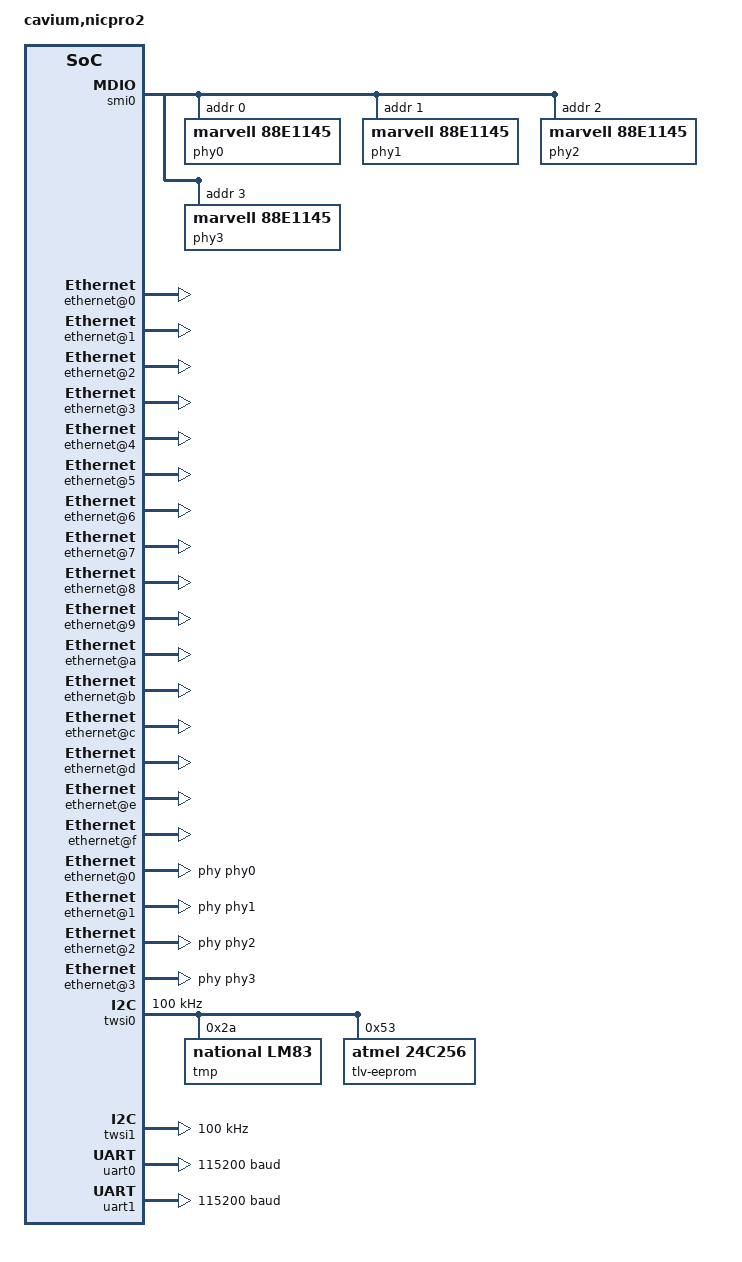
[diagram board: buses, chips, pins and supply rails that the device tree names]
/dts-v1/;
/*
 * Cavium NICPro2
 */
/ {
	model = "cavium,nicpro2";
	compatible = "cavium,nicpro2";
	#address-cells = <2>;
	#size-cells = <2>;
	interrupt-parent = <&ciu>;

	soc@0 {
		compatible = "simple-bus";
		#address-cells = <2>;
		#size-cells = <2>;
		ranges; /* Direct mapping */

		ciu: interrupt-controller@1070000000000 {
			compatible = "cavium,octeon-3860-ciu";
			interrupt-controller;
			/* Interrupts are specified by two parts:
			 * 1) Controller register (0 or 1)
			 * 2) Bit within the register (0..63)
			 */
			#interrupt-cells = <2>;
			reg = <0x10700 0x00000000 0x0 0x7000>;
		};

		gpio: gpio-controller@1070000000800 {
			#gpio-cells = <2>;
			compatible = "cavium,octeon-3860-gpio";
			reg = <0x10700 0x00000800 0x0 0x100>;
			gpio-controller;
			/* Interrupts are specified by two parts:
			 * 1) GPIO pin number (0..15)
			 * 2) Triggering (1 - edge rising
			 *		  2 - edge falling
			 *		  4 - level active high
			 *		  8 - level active low)
			 */
			interrupt-controller;
			#interrupt-cells = <2>;
			/* The GPIO pins connect to 16 consecutive CUI bits */
			interrupts = <0 16>; /* <0 17> <0 18> <0 19>
				     <0 20> <0 21> <0 22> <0 23>
				     <0 24> <0 25> <0 26> <0 27>
				     <0 28> <0 29> <0 30> <0 31>; */
		};

		smi0: mdio@1180000001800 {
			compatible = "cavium,octeon-3860-mdio";
			#address-cells = <1>;
			#size-cells = <0>;
			reg = <0x11800 0x00001800 0x0 0x40>;

			phy0: ethernet-phy@0 {
				reg = <0>;
				compatible = "marvell,88e1145";
			};
			phy1: ethernet-phy@1 {
				reg = <1>;
				compatible = "marvell,88e1145";
			};
			phy2: ethernet-phy@2 {
				reg = <2>;
				compatible = "marvell,88e1145";
			};
			phy3: ethernet-phy@3 {
				reg = <3>;
				compatible = "marvell,88e1145";
			};
		};

		pip: pip@11800a0000000 {
			compatible = "cavium,octeon-3860-pip";
			#address-cells = <1>;
			#size-cells = <0>;
			reg = <0x11800 0xa0000000 0x0 0x2000>;

			interface@0 {
				cavium,qlm-trim = "0,spi";
				compatible = "cavium,octeon-3860-pip-interface";
				#address-cells = <1>;
				#size-cells = <0>;
				reg = <0>; /* interface */

				ethernet@0 {
					compatible = "cavium,octeon-3860-pip-port";
					reg = <0x0>; /* Port */
					local-mac-address = [ 00 00 00 00 00 00 ];
				};
				ethernet@1 {
					compatible = "cavium,octeon-3860-pip-port";
					reg = <0x1>; /* Port */
					local-mac-address = [ 00 00 00 00 00 00 ];
				};
				ethernet@2 {
					compatible = "cavium,octeon-3860-pip-port";
					reg = <0x2>; /* Port */
					local-mac-address = [ 00 00 00 00 00 00 ];
				};
				ethernet@3 {
					compatible = "cavium,octeon-3860-pip-port";
					reg = <0x3>; /* Port */
					local-mac-address = [ 00 00 00 00 00 00 ];
				};
				ethernet@4 {
					compatible = "cavium,octeon-3860-pip-port";
					reg = <0x4>; /* Port */
					local-mac-address = [ 00 00 00 00 00 00 ];
				};
				ethernet@5 {
					compatible = "cavium,octeon-3860-pip-port";
					reg = <0x5>; /* Port */
					local-mac-address = [ 00 00 00 00 00 00 ];
				};
				ethernet@6 {
					compatible = "cavium,octeon-3860-pip-port";
					reg = <0x6>; /* Port */
					local-mac-address = [ 00 00 00 00 00 00 ];
				};
				ethernet@7 {
					compatible = "cavium,octeon-3860-pip-port";
					reg = <0x7>; /* Port */
					local-mac-address = [ 00 00 00 00 00 00 ];
				};
				ethernet@8 {
					compatible = "cavium,octeon-3860-pip-port";
					reg = <0x8>; /* Port */
					local-mac-address = [ 00 00 00 00 00 00 ];
				};
				ethernet@9 {
					compatible = "cavium,octeon-3860-pip-port";
					reg = <0x9>; /* Port */
					local-mac-address = [ 00 00 00 00 00 00 ];
				};
				ethernet@a {
					cavium,qlm-trim = "9,not-spi4000";
					compatible = "cavium,octeon-3860-pip-port";
					reg = <0xa>; /* Port */
					local-mac-address = [ 00 00 00 00 00 00 ];
				};
				ethernet@b {
					cavium,qlm-trim = "9,not-spi4000";
					compatible = "cavium,octeon-3860-pip-port";
					reg = <0xb>; /* Port */
					local-mac-address = [ 00 00 00 00 00 00 ];
				};
				ethernet@c {
					cavium,qlm-trim = "9,not-spi4000";
					compatible = "cavium,octeon-3860-pip-port";
					reg = <0xc>; /* Port */
					local-mac-address = [ 00 00 00 00 00 00 ];
				};
				ethernet@d {
					cavium,qlm-trim = "9,not-spi4000";
					compatible = "cavium,octeon-3860-pip-port";
					reg = <0xd>; /* Port */
					local-mac-address = [ 00 00 00 00 00 00 ];
				};
				ethernet@e {
					cavium,qlm-trim = "9,not-spi4000";
					compatible = "cavium,octeon-3860-pip-port";
					reg = <0xe>; /* Port */
					local-mac-address = [ 00 00 00 00 00 00 ];
				};
				ethernet@f {
					cavium,qlm-trim = "9,not-spi4000";
					compatible = "cavium,octeon-3860-pip-port";
					reg = <0xf>; /* Port */
					local-mac-address = [ 00 00 00 00 00 00 ];
				};
			};

			interface@1 {
				compatible = "cavium,octeon-3860-pip-interface";
				#address-cells = <1>;
				#size-cells = <0>;
				reg = <1>; /* interface */

				ethernet@0 {
					compatible = "cavium,octeon-3860-pip-port";
					reg = <0x0>; /* Port */
					local-mac-address = [ 00 00 00 00 00 00 ];
					phy-handle = <&phy0>;
				};
				ethernet@1 {
					compatible = "cavium,octeon-3860-pip-port";
					reg = <0x1>; /* Port */
					local-mac-address = [ 00 00 00 00 00 00 ];
					phy-handle = <&phy1>;
				};
				ethernet@2 {
					compatible = "cavium,octeon-3860-pip-port";
					reg = <0x2>; /* Port */
					local-mac-address = [ 00 00 00 00 00 00 ];
					phy-handle = <&phy2>;
				};
				ethernet@3 {
					compatible = "cavium,octeon-3860-pip-port";
					reg = <0x3>; /* Port */
					local-mac-address = [ 00 00 00 00 00 00 ];
					phy-handle = <&phy3>;
				};
			};
		};

		twsi0: i2c@1180000001000 {
			#address-cells = <1>;
			#size-cells = <0>;
			compatible = "cavium,octeon-3860-twsi";
			reg = <0x11800 0x00001000 0x0 0x200>;
			interrupts = <0 45>;
			clock-frequency = <100000>;

			tmp@2a {
				compatible = "national,lm83";
				reg = <0x2a>;
			};
			tlv-eeprom@53 {
				compatible = "atmel,24c256";
				reg = <0x53>;
				pagesize = <64>;
			};
		};

		twsi1: i2c@1180000001200 {
			#address-cells = <1>;
			#size-cells = <0>;
			compatible = "cavium,octeon-3860-twsi";
			reg = <0x11800 0x00001200 0x0 0x200>;
			interrupts = <0 59>;
			clock-frequency = <100000>;
		};

		uart0: serial@1180000000800 {
			compatible = "cavium,octeon-3860-uart","ns16550";
			reg = <0x11800 0x00000800 0x0 0x400>;
			clock-frequency = <0>;
			current-speed = <115200>;
			reg-shift = <3>;
			interrupts = <0 34>;
		};

		uart1: serial@1180000000c00 {
			compatible = "cavium,octeon-3860-uart","ns16550";
			reg = <0x11800 0x00000c00 0x0 0x400>;
			clock-frequency = <0>;
			current-speed = <115200>;
			reg-shift = <3>;
			interrupts = <0 35>;
		};


		bootbus: bootbus@1180000000000 {
			compatible = "cavium,octeon-3860-bootbus";
			reg = <0x11800 0x00000000 0x0 0x200>;
			/* The chip select number and offset */
			#address-cells = <2>;
			/* The size of the chip select region */
			#size-cells = <1>;
			ranges = <0 0  0x10000 0x00000000  0>,
				 <1 0  0x10000 0x20000000  0>,
				 <2 0  0x10000 0x30000000  0>,
				 <3 0  0x10000 0x40000000  0>,
				 <4 0  0x10000 0x50000000  0>,
				 <5 0  0x10000 0x60000000  0>,
				 <6 0  0x10000 0x70000000  0>,
				 <7 0  0x10000 0x80000000  0>;
		};

		dma0: dma-engine@1180000000100 {
			compatible = "cavium,octeon-5750-bootbus-dma";
			reg = <0x11800 0x00000100 0x0 0x8>;
			interrupts = <0 63>;
		};
		dma1: dma-engine@1180000000108 {
			compatible = "cavium,octeon-5750-bootbus-dma";
			reg = <0x11800 0x00000108 0x0 0x8>;
			interrupts = <0 63>;
		};
	};

	aliases {
		pip = &pip;
		smi0 = &smi0;
		twsi0 = &twsi0;
		twsi1 = &twsi1;
		uart0 = &uart0;
		uart1 = &uart1;
	};
 };
